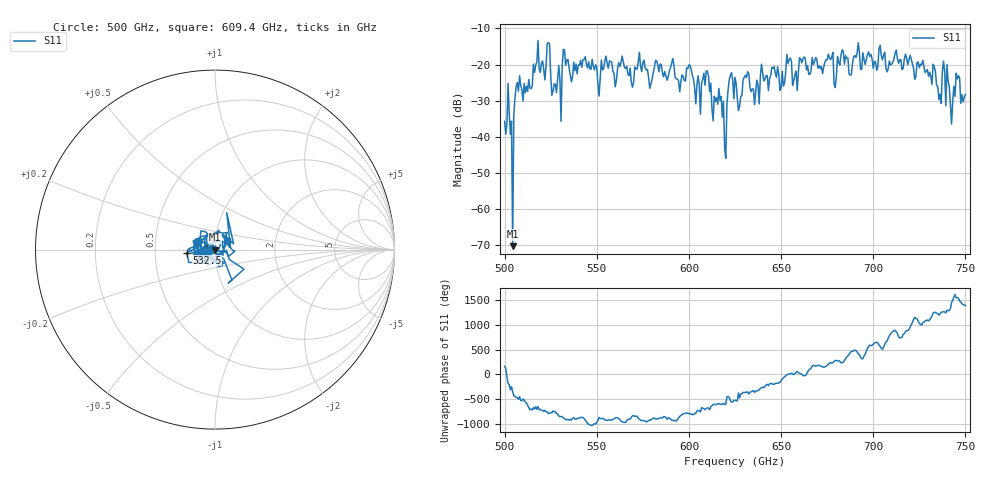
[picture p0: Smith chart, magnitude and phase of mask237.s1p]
!Created with skrf (http://scikit-rf.org).
# GHz S MA R 50.0
!freq magS11 angS11
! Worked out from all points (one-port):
!   401 points, 500 GHz to 750 GHz, reference 50 ohm
!   lowest |S11| = -70.4 dB at 504.4 GHz (marker M1), VSWR 1.00, Z = 50 + j0.00725 ohm
!   |S11| at or under -10 dB: start of sweep to end of sweep
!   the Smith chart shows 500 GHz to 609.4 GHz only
!   S11 on the Smith chart (normalised r, x): 500 GHz: 0.97, +0.01; 532.5 GHz: 0.73, -0.03; 609.4 GHz: 1.14, +0.11
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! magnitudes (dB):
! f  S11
! 500 GHz  -35.7
! 502.5 GHz  -33.6
! 503.1 GHz  -39.3
! 504.4 GHz  -70.4
! 507.5 GHz  -27.4
! 523.8 GHz  -14.0
! 526.9 GHz  -25.4
! 531.2 GHz  -20.5
! 532.5 GHz  -16.0
! 550.6 GHz  -25.4
! 562.5 GHz  -20.5
! 593.8 GHz  -24.1
! 600 GHz  -20.1
! 605 GHz  -23.1
! 609.4 GHz  -21.8
! 613.8 GHz  -28.8
! 617.5 GHz  -28.9
! 619.4 GHz  -43.1
! 622.5 GHz  -23.0
! 625 GHz  -23.7
! 627.5 GHz  -31.7
! 631.2 GHz  -23.6
! 636.9 GHz  -24.3
! 656.2 GHz  -25.8
! 687.5 GHz  -22.9
! 691.2 GHz  -16.8
! 718.8 GHz  -20.0
! 750 GHz  -28.3
